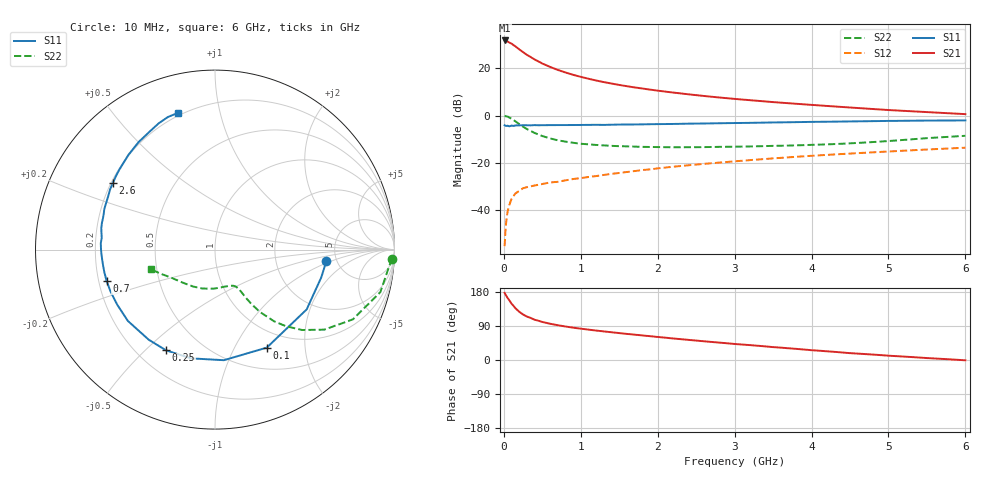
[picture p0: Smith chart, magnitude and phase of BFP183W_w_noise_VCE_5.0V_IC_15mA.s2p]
! Infineon Technologies  Discrete & RF Semiconductors
! BFP183W
! VCE =  5.0 V,  IC =  15 mA
! Common Emitter S-Parameters:  Jan 2017
# GHz  S  MA  R  50
!  f  S11  S21  S12  S22
! GHz  MAG  ANG  MAG  ANG  MAG  ANG  MAG  ANG
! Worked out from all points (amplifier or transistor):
!   77 points, 10 MHz to 6 GHz, reference 50 ohm
!   highest |S21| = 31.9 dB at 10 MHz (marker M1)
!   |S21| within 3 dB of that: start of sweep to 169.6 MHz
!   unconditionally stable (mu >= 1): 1.325 GHz to 3.747 GHz
!   at 130 MHz: K = 0.18, MSG = 31.9 dB, |S12| = -33.9 dB
!   at 2.2 GHz: K = 1.06, MAG = 14.2 dB, |S12| = -21.7 dB
!   at 6 GHz: K = 0.86, MSG = 7.1 dB, |S12| = -13.6 dB
!   lowest NFmin = 1.05 dB at 450 MHz
!   S11 on the Smith chart (normalised r, x): 10 MHz: 4.10, -0.89; 100 MHz: 0.77, -1.36; 250 MHz: 0.32, -0.58; 700 MHz: 0.23, -0.13; 2.6 GHz: 0.21, +0.29; 6 GHz: 0.19, +0.75
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0.01  0.6231 -6.1  39.18 177.2  0.0017 89.6  0.9882 -2.9
0.02  0.612 -14.7  38.63 173.0  0.0034 84.0  0.9735 -5.8
0.05  0.6099 -33.1  37.26 163.3  0.0094 75.0  0.9513 -14.4
0.1  0.6177 -62.1  33.59 148.5  0.0171 66.8  0.8613 -26.8
0.15  0.6182 -85.4  29.36 136.7  0.0222 57.6  0.7552 -36.2
0.2  0.6205 -102.4  25.41 127.3  0.0254 51.2  0.6606 -42.7
0.25  0.624 -115.9  22.12 120.1  0.0288 47.0  0.5818 -47.2
0.3  0.6232 -126.3  19.4 114.6  0.0303 44.5  0.5178 -50.5
0.4  0.6274 -140.7  15.46 106.3  0.0329 43.0  0.4269 -54.3
0.5  0.6253 -150.7  12.71 100.4  0.0354 42.5  0.3683 -56.1
0.6  0.6272 -158.1  10.78 95.7  0.0381 42.6  0.3284 -57.1
0.7  0.6289 -163.9  9.318 91.9  0.0394 45.1  0.2992 -57.7
0.9  0.6302 -173.1  7.319 85.4  0.0451 46.7  0.265 -58.6
1.1  0.6351 -180.0  6.044 80.2  0.0499 49.7  0.2455 -59.7
1.3  0.6345 174.0  5.125 75.4  0.0551 51.1  0.2331 -61.3
1.5  0.6449 169.2  4.462 71.0  0.0606 52.3  0.2244 -63.7
2.1  0.6611 155.9  3.227 58.9  0.079 54.4  0.2137 -74.3
2.6  0.6795 146.8  2.605 49.4  0.0945 54.3  0.2144 -86.2
3.1  0.6977 138.5  2.188 40.8  0.1103 53.0  0.2201 -98.6
4.1  0.7377 124.0  1.643 24.5  0.1434 49.1  0.242 -123.8
5.1  0.7727 113.1  1.285 10.2  0.1765 43.8  0.2965 -149.0
6  0.7896 105.0  1.073 -0.8  0.2083 38.2  0.3725 -162.9
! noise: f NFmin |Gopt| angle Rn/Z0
0.45  1.05  0.15  158  0.1
0.9  1.09  0.21  163  0.09
1.9  1.56  0.39  -168  0.08
2.4  1.8  0.44  -161  0.11
